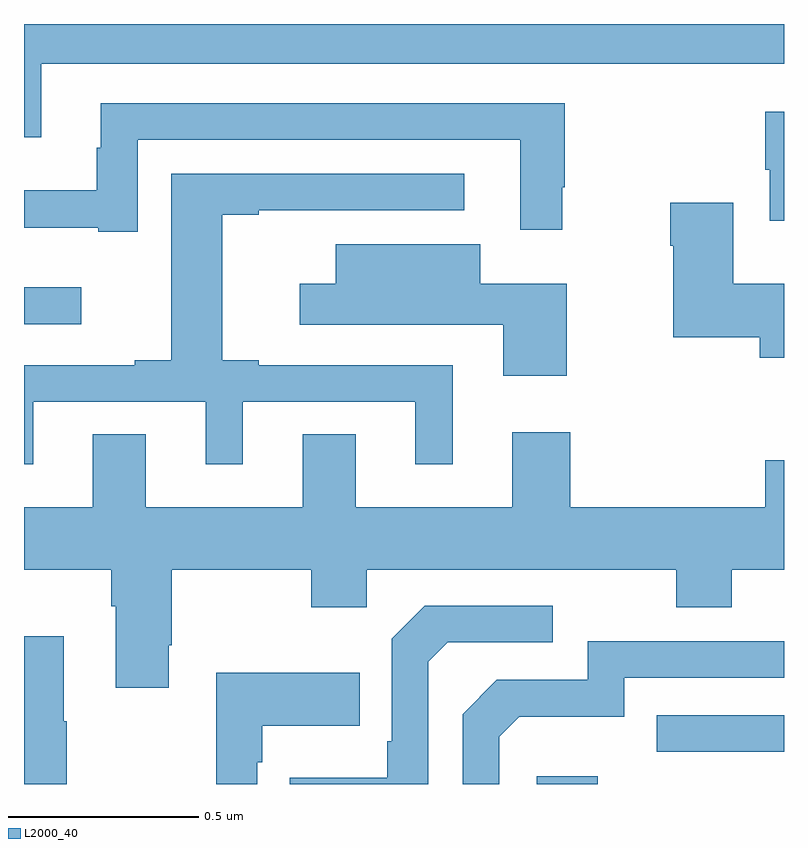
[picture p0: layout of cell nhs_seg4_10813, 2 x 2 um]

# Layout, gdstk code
import gdstk
lib = gdstk.Library(unit=1e-6, precision=1e-09)
def R(c, l, rs):  # rectangles x0, y0, x1, y1
    for r in rs: c.add(gdstk.rectangle(r[:2], r[2:], *l))
def P(c, l, *ps):  # polygons
    for p in ps: c.add(gdstk.Polygon(p, *l))
L2000_40 = (2000, 40)

nhs_seg4_10813 = lib.new_cell('nhs_seg4_10813')
R(nhs_seg4_10813, L2000_40, [(245.349,818.9,245.51,818.92), (245.665,818.985,246,819.081), (244,820.11,244.15,820.207)])
P(nhs_seg4_10813, L2000_40, [(244.045,820.796),(246,820.796),(246,820.9),(244,820.9),(244,820.602),(244.045,820.602)],
  [(244.299,820.596),(245.306,820.596),(245.306,820.359),(245.416,820.359),(245.416,820.471),(245.423,820.471),(245.423,820.692),(244.202,820.692),(244.202,820.574),(244.191,820.574),(244.191,820.462),(244,820.462),(244,820.364),(244.196,820.364),(244.196,820.353),(244.299,820.353)],
  [(246,820.669),(245.951,820.669),(245.951,820.516),(245.963,820.516),(245.963,820.382),(246,820.382)],
  [(244.024,819.906),(244.478,819.906),(244.478,819.741),(244.576,819.741),(244.576,819.906),(245.03,819.906),(245.03,819.741),(245.128,819.741),(245.128,820.002),(244.618,820.002),(244.618,820.015),(244.522,820.015),(244.522,820.398),(244.618,820.398),(244.618,820.41),(245.158,820.41),(245.158,820.506),(244.388,820.506),(244.388,820.015),(244.292,820.015),(244.292,820.002),(244,820.002),(244,819.741),(244.024,819.741)],
  [(246,820.216),(245.866,820.216),(245.866,820.429),(245.701,820.429),(245.701,820.316),(245.708,820.316),(245.708,820.076),(245.936,820.076),(245.936,820.022),(246,820.022)],
  [(245.428,820.216),(245.2,820.216),(245.2,820.321),(244.82,820.321),(244.82,820.216),(244.725,820.216),(244.725,820.109),(245.261,820.109),(245.261,819.975),(245.428,819.975)],
  [(244.381,819.265),(244.389,819.265),(244.389,819.464),(244.756,819.464),(244.756,819.365),(244.902,819.365),(244.902,819.464),(245.716,819.464),(245.716,819.365),(245.863,819.365),(245.863,819.464),(246,819.464),(246,819.752),(245.951,819.752),(245.951,819.628),(245.438,819.628),(245.438,819.826),(245.285,819.826),(245.285,819.628),(244.873,819.628),(244.873,819.821),(244.733,819.821),(244.733,819.628),(244.321,819.628),(244.321,819.821),(244.181,819.821),(244.181,819.628),(244,819.628),(244,819.464),(244.229,819.464),(244.229,819.368),(244.241,819.368),(244.241,819.153),(244.381,819.153)],
  [(245.064,819.222),(245.115,819.273),(245.392,819.273),(245.392,819.369),(245.055,819.369),(244.968,819.282),(244.968,819.013),(244.956,819.013),(244.956,818.917),(244.699,818.917),(244.699,818.9),(245.064,818.9)],
  [(244.113,819.065),(244.105,819.065),(244.105,819.289),(244,819.289),(244,818.9),(244.113,818.9)],
  [(245.25,819.024),(245.303,819.077),(245.58,819.077),(245.58,819.18),(246,819.18),(246,819.276),(245.484,819.276),(245.484,819.174),(245.244,819.174),(245.154,819.084),(245.154,818.9),(245.25,818.9)],
  [(244.614,818.957),(244.627,818.957),(244.627,819.053),(244.883,819.053),(244.883,819.193),(244.506,819.193),(244.506,818.9),(244.614,818.9)])

lib.write_gds('nhs_seg4_10813.gds')
